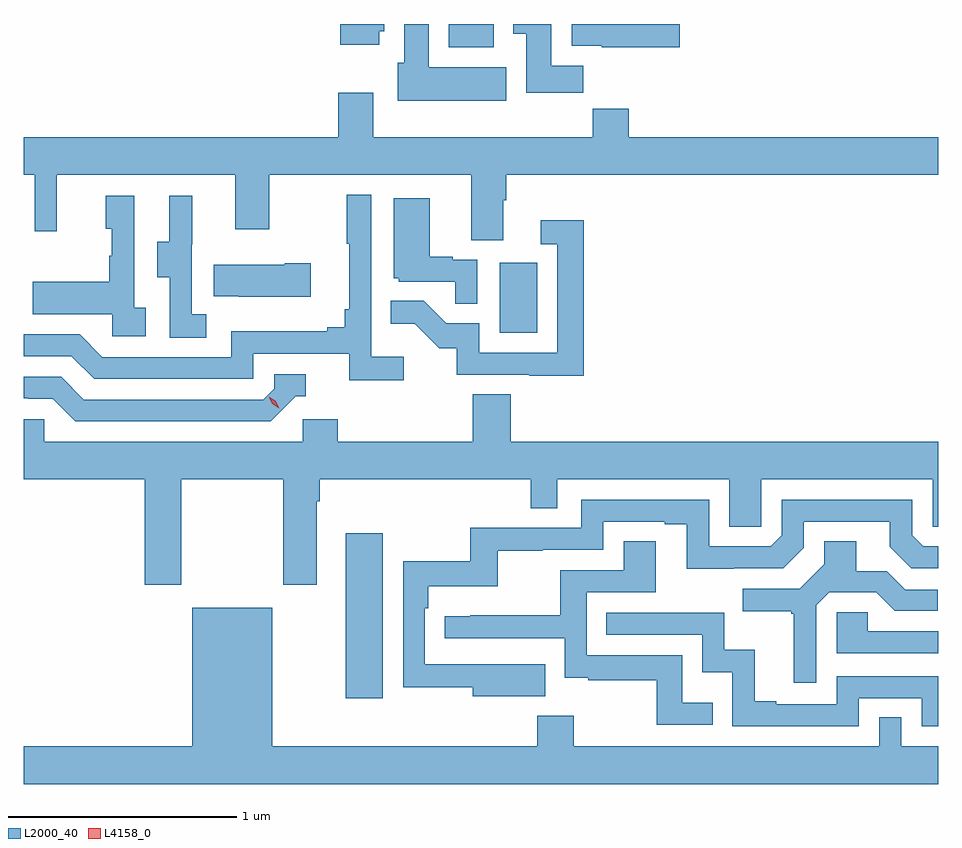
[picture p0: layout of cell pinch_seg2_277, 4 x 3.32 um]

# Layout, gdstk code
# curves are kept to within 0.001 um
import gdstk
lib = gdstk.Library(unit=1e-6, precision=1e-09)
def R(c, l, rs):  # rectangles x0, y0, x1, y1
    for r in rs: c.add(gdstk.rectangle(r[:2], r[2:], *l))
def P(c, l, *ps):  # polygons
    for p in ps: c.add(gdstk.Polygon(p, *l))
L2000_40 = (2000, 40)
L4158_0 = (4158, 0)

pinch_seg2_277 = lib.new_cell('pinch_seg2_277')
R(pinch_seg2_277, L2000_40, [(926.816,630.696,926.977,631.417), (927.488,632.292,927.652,632.599), (927.266,633.542,927.463,633.643)])
P(pinch_seg2_277, L2000_40, [(928.276,633.643),(927.803,633.643),(927.803,633.548),(927.936,633.548),(927.936,633.542),(928.276,633.542)],
  [(927.517,633.454),(927.178,633.454),(927.178,633.643),(927.071,633.643),(927.071,633.474),(927.044,633.474),(927.044,633.308),(927.517,633.308)],
  [(926.962,633.612),(926.983,633.612),(926.983,633.643),(926.792,633.643),(926.792,633.552),(926.962,633.552)],
  [(927.854,633.46),(927.715,633.46),(927.715,633.643),(927.548,633.643),(927.548,633.601),(927.605,633.601),(927.605,633.342),(927.854,633.342)],
  [(927.505,632.872),(927.518,632.872),(927.518,632.984),(929.407,632.984),(929.407,633.148),(928.052,633.148),(928.052,633.272),(927.895,633.272),(927.895,633.148),(926.935,633.148),(926.935,633.343),(926.783,633.343),(926.783,633.148),(925.407,633.148),(925.407,632.984),(925.455,632.984),(925.455,632.736),(925.553,632.736),(925.553,632.984),(926.333,632.984),(926.333,632.745),(926.481,632.745),(926.481,632.984),(927.365,632.984),(927.365,632.698),(927.505,632.698)],
  [(927.07,632.188),(926.928,632.188),(926.928,632.896),(926.82,632.896),(926.82,632.683),(926.831,632.683),(926.831,632.395),(926.812,632.395),(926.812,632.318),(926.735,632.318),(926.735,632.299),(926.316,632.299),(926.316,632.187),(925.752,632.187),(925.653,632.286),(925.407,632.286),(925.407,632.19),(925.616,632.19),(925.715,632.091),(926.412,632.091),(926.412,632.202),(926.831,632.202),(926.831,632.086),(927.07,632.086)],
  [(925.942,632.402),(925.89,632.402),(925.89,632.893),(925.766,632.893),(925.766,632.748),(925.792,632.748),(925.792,632.63),(925.782,632.63),(925.782,632.515),(925.447,632.515),(925.447,632.375),(925.794,632.375),(925.794,632.277),(925.942,632.277)],
  [(926.206,632.375),(926.142,632.375),(926.142,632.679),(926.144,632.679),(926.144,632.893),(926.045,632.893),(926.045,632.691),(925.991,632.691),(925.991,632.536),(926.046,632.536),(926.046,632.272),(926.206,632.272)],
  [(927.39,632.613),(927.284,632.613),(927.284,632.626),(927.184,632.626),(927.184,632.881),(927.026,632.881),(927.026,632.532),(927.048,632.532),(927.048,632.517),(927.295,632.517),(927.295,632.419),(927.39,632.419)],
  [(927.857,632.785),(927.669,632.785),(927.669,632.679),(927.741,632.679),(927.741,632.205),(927.399,632.205),(927.399,632.334),(927.255,632.334),(927.157,632.432),(927.013,632.432),(927.013,632.333),(927.117,632.333),(927.224,632.226),(927.301,632.226),(927.301,632.109),(927.619,632.109),(927.619,632.104),(927.857,632.104)],
  [(926.662,632.598),(926.549,632.598),(926.549,632.59),(926.239,632.59),(926.239,632.453),(926.347,632.453),(926.347,632.45),(926.662,632.45)],
  [(926.598,632.016),(926.641,632.016),(926.641,632.112),(926.502,632.112),(926.502,632.049),(926.454,632.001),(925.671,632.001),(925.572,632.1),(925.407,632.1),(925.407,632.007),(925.428,632.007),(925.428,632.004),(925.535,632.004),(925.634,631.905),(926.487,631.905)],
  [(926.097,631.652),(926.542,631.652),(926.542,631.191),(926.689,631.191),(926.689,631.556),(926.702,631.556),(926.702,631.652),(927.625,631.652),(927.625,631.525),(927.741,631.525),(927.741,631.652),(928.493,631.652),(928.493,631.444),(928.632,631.444),(928.632,631.652),(929.382,631.652),(929.382,631.444),(929.407,631.444),(929.407,631.816),(927.536,631.816),(927.536,632.024),(927.371,632.024),(927.371,631.816),(926.78,631.816),(926.78,631.914),(926.628,631.914),(926.628,631.816),(925.497,631.816),(925.497,631.914),(925.407,631.914),(925.407,631.652),(925.937,631.652),(925.937,631.191),(926.097,631.191)],
  [(927.689,630.844),(927.162,630.843),(927.162,631.088),(927.176,631.088),(927.176,631.184),(927.481,631.184),(927.481,631.339),(927.677,631.339),(927.677,631.344),(927.942,631.344),(927.942,631.467),(928.211,631.467),(928.211,631.455),(928.307,631.455),(928.307,631.262),(928.728,631.263),(928.818,631.353),(928.818,631.467),(929.195,631.467),(929.195,631.357),(929.289,631.263),(929.407,631.263),(929.407,631.359),(929.34,631.359),(929.292,631.407),(929.292,631.563),(928.722,631.563),(928.722,631.407),(928.674,631.359),(928.404,631.359),(928.404,631.563),(927.846,631.563),(927.846,631.44),(927.36,631.44),(927.36,631.294),(927.066,631.294),(927.066,630.742),(927.371,630.742),(927.371,630.704),(927.689,630.704)],
  [(928.421,630.676),(928.287,630.676),(928.287,630.882),(927.87,630.882),(927.87,631.158),(928.171,631.158),(928.171,631.382),(928.031,631.382),(928.031,631.254),(927.754,631.254),(927.754,631.058),(927.361,631.058),(927.361,631.053),(927.249,631.053),(927.249,630.957),(927.774,630.957),(927.774,630.785),(927.877,630.785),(927.877,630.774),(928.176,630.774),(928.176,630.579),(928.421,630.579)],
  [(928.872,631.101),(928.929,631.158),(929.135,631.158),(929.216,631.077),(929.404,631.077),(929.404,631.17),(929.262,631.17),(929.182,631.25),(929.047,631.25),(929.047,631.382),(928.907,631.382),(928.907,631.28),(928.8,631.173),(928.551,631.173),(928.551,631.076),(928.764,631.076),(928.764,631.065),(928.775,631.065),(928.775,630.762),(928.872,630.762)],
  [(929.407,630.484),(929.244,630.484),(929.244,630.611),(929.148,630.611),(929.148,630.484),(927.813,630.484),(927.813,630.619),(927.653,630.619),(927.653,630.484),(926.494,630.484),(926.494,631.09),(926.144,631.09),(926.144,630.484),(925.407,630.484),(925.407,630.32),(929.407,630.32)],
  [(929.407,630.987),(929.099,630.987),(929.099,631.071),(928.962,631.071),(928.962,630.891),(929.407,630.891)],
  [(929.058,630.696),(929.334,630.696),(929.334,630.573),(929.407,630.573),(929.407,630.792),(928.962,630.792),(928.962,630.669),(928.699,630.669),(928.699,630.682),(928.603,630.682),(928.603,630.907),(928.47,630.907),(928.47,631.068),(927.955,631.068),(927.955,630.972),(928.374,630.972),(928.374,630.809),(928.506,630.809),(928.506,630.573),(929.058,630.573)])
P(pinch_seg2_277, L4158_0, [(926.524,631.962),(926.494,631.982),(926.478,632.014),(926.478,632.014),(926.478,632.014),(926.508,631.995),(926.524,631.962),(926.524,631.962)])

lib.write_gds('pinch_seg2_277.gds')
